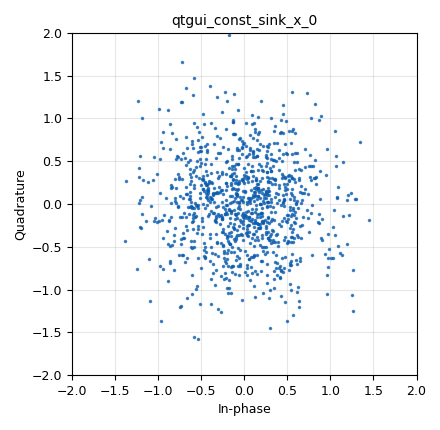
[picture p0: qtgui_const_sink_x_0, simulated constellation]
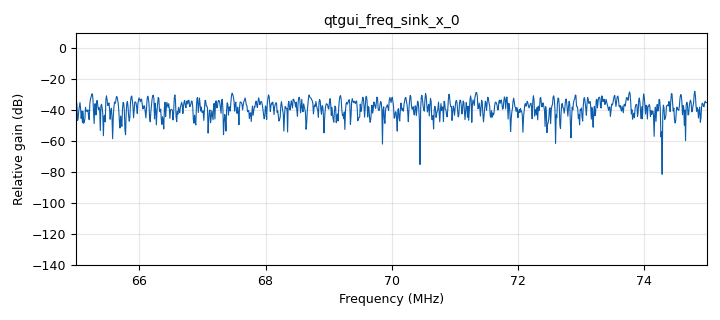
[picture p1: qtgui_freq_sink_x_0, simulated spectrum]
<?xml version='1.0' encoding='utf-8'?>
<?grc format='1' created='3.7.9'?>
<flow_graph>
<block>
<key>options</key>
<param><key>id</key><value>dbpsk_downlink</value></param>
<param><key>author</key><value>André Løfaldli</value></param>
<param><key>category</key><value>Custom</value></param>
<param><key>generate_options</key><value>qt_gui</value></param>
<param><key>title</key><value>DBPSK Downlink</value></param>
</block>
<block>
<key>variable_qtgui_chooser</key>
<param><key>id</key><value>antenna</value></param>
<param><key>value</key><value>RX2</value></param>
<param><key>num_opts</key><value>2</value></param>
<param><key>option0</key><value>RX2</value></param>
<param><key>option1</key><value>TX/RX</value></param>
<param><key>type</key><value>string</value></param>
</block>
<block>
<key>variable_constellation</key>
<param><key>id</key><value>bpsk</value></param>
<param><key>const_points</key><value>[-1-1j, -1+1j, 1+1j, 1-1j]</value></param>
<param><key>dims</key><value>1</value></param>
<param><key>rot_sym</key><value>4</value></param>
<param><key>precision</key><value>8</value></param>
<param><key>sym_map</key><value>[0, 1, 3, 2]</value></param>
</block>
<block>
<key>variable</key>
<param><key>id</key><value>data_rate</value></param>
<param><key>value</key><value>int(2e6)</value></param>
</block>
<block>
<key>variable</key>
<param><key>id</key><value>fps</value></param>
<param><key>value</key><value>5</value></param>
</block>
<block>
<key>variable_function_probe</key>
<param><key>id</key><value>frames_decoded</value></param>
<param><key>block_id</key><value>ccsds_decoder</value></param>
<param><key>function_name</key><value>num_frames_decoded</value></param>
<param><key>poll_rate</key><value>fps</value></param>
<param><key>value</key><value>0</value></param>
</block>
<block>
<key>variable_function_probe</key>
<param><key>id</key><value>frames_received</value></param>
<param><key>block_id</key><value>ccsds_decoder</value></param>
<param><key>function_name</key><value>num_frames_received</value></param>
<param><key>poll_rate</key><value>fps</value></param>
<param><key>value</key><value>0</value></param>
</block>
<block>
<key>variable</key>
<param><key>id</key><value>freq</value></param>
<param><key>value</key><value>int(70e6)</value></param>
</block>
<block>
<key>variable</key>
<param><key>id</key><value>samp_rate</value></param>
<param><key>value</key><value>sps*data_rate</value></param>
</block>
<block>
<key>variable</key>
<param><key>id</key><value>sps</value></param>
<param><key>value</key><value>5</value></param>
</block>
<block>
<key>variable_function_probe</key>
<param><key>id</key><value>subframes_decoded</value></param>
<param><key>block_id</key><value>ccsds_decoder</value></param>
<param><key>function_name</key><value>num_subframes_decoded</value></param>
<param><key>poll_rate</key><value>fps</value></param>
<param><key>value</key><value>0</value></param>
</block>
<block>
<key>variable_qtgui_label</key>
<param><key>id</key><value>variable_qtgui_label_0_1</value></param>
<param><key>value</key><value>frames_received</value></param>
<param><key>gui_hint</key><value>qtgui@1:0,0</value></param>
<param><key>label</key><value>frames received</value></param>
<param><key>type</key><value>raw</value></param>
</block>
<block>
<key>variable_qtgui_label</key>
<param><key>id</key><value>variable_qtgui_label_0_1_0</value></param>
<param><key>value</key><value>frames_decoded</value></param>
<param><key>gui_hint</key><value>qtgui@1:0,1</value></param>
<param><key>label</key><value>frames decoded</value></param>
<param><key>type</key><value>raw</value></param>
</block>
<block>
<key>variable_qtgui_label</key>
<param><key>id</key><value>variable_qtgui_label_0_1_0_0</value></param>
<param><key>value</key><value>subframes_decoded</value></param>
<param><key>gui_hint</key><value>qtgui@1:0,2</value></param>
<param><key>label</key><value>subframes decoded</value></param>
<param><key>type</key><value>raw</value></param>
</block>
<block>
<key>analog_agc2_xx</key>
<param><key>id</key><value>analog_agc2_xx_0</value></param>
<param><key>attack_rate</key><value>6e-2</value></param>
<param><key>decay_rate</key><value>1e-3</value></param>
<param><key>gain</key><value>1</value></param>
<param><key>max_gain</key><value>65536</value></param>
<param><key>reference</key><value>1</value></param>
<param><key>type</key><value>complex</value></param>
</block>
<block>
<key>analog_noise_source_x</key>
<param><key>id</key><value>analog_noise_source_x_0</value></param>
<param><key>amp</key><value>1</value></param>
<param><key>noise_type</key><value>analog.GR_GAUSSIAN</value></param>
<param><key>type</key><value>complex</value></param>
<param><key>seed</key><value>0</value></param>
</block>
<block>
<key>blocks_moving_average_xx</key>
<param><key>id</key><value>blocks_moving_average_xx_0</value></param>
<param><key>length</key><value>1000</value></param>
<param><key>max_iter</key><value>4000</value></param>
<param><key>scale</key><value>1e-3</value></param>
<param><key>type</key><value>float</value></param>
</block>
<block>
<key>ccsds_ccsds_decoder</key>
<param><key>id</key><value>ccsds_decoder</value></param>
<param><key>deinterleave</key><value>True</value></param>
<param><key>descramble</key><value>True</value></param>
<param><key>printing</key><value>False</value></param>
<param><key>rs_decode</key><value>True</value></param>
<param><key>threshold</key><value>0</value></param>
<param><key>verbose</key><value>False</value></param>
</block>
<block>
<key>digital_clock_recovery_mm_xx</key>
<param><key>id</key><value>digital_clock_recovery_mm_xx_0</value></param>
<param><key>gain_mu</key><value>0.175</value></param>
<param><key>gain_omega</key><value>0.25*0.175*0.175</value></param>
<param><key>mu</key><value>0.5</value></param>
<param><key>omega_relative_limit</key><value>0.005</value></param>
<param><key>omega</key><value>sps</value></param>
<param><key>type</key><value>complex</value></param>
</block>
<block>
<key>digital_constellation_decoder_cb</key>
<param><key>id</key><value>digital_constellation_decoder_cb_0</value></param>
<param><key>constellation</key><value>bpsk</value></param>
</block>
<block>
<key>digital_costas_loop_cc</key>
<param><key>id</key><value>digital_costas_loop_cc_0</value></param>
<param><key>w</key><value>6.28/100</value></param>
<param><key>order</key><value>2</value></param>
</block>
<block>
<key>digital_diff_decoder_bb</key>
<param><key>id</key><value>digital_diff_decoder_bb_0</value></param>
<param><key>modulus</key><value>2</value></param>
</block>
<block>
<key>qtgui_tab_widget</key>
<param><key>id</key><value>qtgui</value></param>
<param><key>gui_hint</key><value>0,0,1,2</value></param>
<param><key>label0</key><value>fft/const</value></param>
<param><key>label1</key><value>stats</value></param>
<param><key>num_tabs</key><value>2</value></param>
</block>
<block>
<key>qtgui_const_sink_x</key>
<param><key>id</key><value>qtgui_const_sink_x_0</value></param>
<param><key>gui_hint</key><value>qtgui@0:0,1</value></param>
<param><key>legend</key><value>False</value></param>
<param><key>size</key><value>1024</value></param>
<param><key>type</key><value>complex</value></param>
<param><key>update_time</key><value>1.0/fps</value></param>
</block>
<block>
<key>qtgui_freq_sink_x</key>
<param><key>id</key><value>qtgui_freq_sink_x_0</value></param>
<param><key>bw</key><value>samp_rate</value></param>
<param><key>fc</key><value>freq</value></param>
<param><key>fftsize</key><value>1024</value></param>
<param><key>gui_hint</key><value>qtgui@0:0,0</value></param>
<param><key>legend</key><value>False</value></param>
<param><key>showports</key><value>True</value></param>
<param><key>type</key><value>complex</value></param>
<param><key>update_time</key><value>1.0/fps</value></param>
<param><key>wintype</key><value>firdes.WIN_BLACKMAN_hARRIS</value></param>
</block>
<block>
<key>qtgui_number_sink</key>
<param><key>id</key><value>qtgui_number_sink_1</value></param>
<param><key>gui_hint</key><value>qtgui@1</value></param>
<param><key>graph_type</key><value>qtgui.NUM_GRAPH_HORIZ</value></param>
<param><key>type</key><value>float</value></param>
<param><key>factor1</key><value>1.0*samp_rate/sps * 1.0/6.28</value></param>
<param><key>label1</key><value>doppler</value></param>
<param><key>unit1</key><value>Hz</value></param>
<param><key>max</key><value>0.5*samp_rate/sps</value></param>
<param><key>min</key><value>-0.5*samp_rate/sps</value></param>
<param><key>update_time</key><value>1.0/fps</value></param>
</block>
<block>
<key>uhd_usrp_source</key>
<param><key>id</key><value>uhd_usrp_source_0</value></param>
<param><key>ant0</key><value>antenna</value></param>
<param><key>center_freq0</key><value>freq</value></param>
<param><key>dc_offs_enb0</key><value>""</value></param>
<param><key>iq_imbal_enb0</key><value>""</value></param>
<param><key>norm_gain0</key><value>False</value></param>
<param><key>gain0</key><value>0</value></param>
<param><key>clock_rate</key><value>0.0</value></param>
<param><key>dev_args</key><value>""</value></param>
<param><key>_enabled</key><value>0</value></param>
<param><key>type</key><value>fc32</value></param>
<param><key>samp_rate</key><value>samp_rate</value></param>
<param><key>hide_cmd_port</key><value>False</value></param>
<param><key>sync</key><value></value></param>
</block>
<connection><source_block_id>analog_agc2_xx_0</source_block_id><sink_block_id>digital_clock_recovery_mm_xx_0</sink_block_id><source_key>0</source_key><sink_key>0</sink_key></connection>
<connection><source_block_id>analog_noise_source_x_0</source_block_id><sink_block_id>analog_agc2_xx_0</sink_block_id><source_key>0</source_key><sink_key>0</sink_key></connection>
<connection><source_block_id>analog_noise_source_x_0</source_block_id><sink_block_id>qtgui_freq_sink_x_0</sink_block_id><source_key>0</source_key><sink_key>0</sink_key></connection>
<connection><source_block_id>blocks_moving_average_xx_0</source_block_id><sink_block_id>qtgui_number_sink_1</sink_block_id><source_key>0</source_key><sink_key>0</sink_key></connection>
<connection><source_block_id>digital_clock_recovery_mm_xx_0</source_block_id><sink_block_id>digital_costas_loop_cc_0</sink_block_id><source_key>0</source_key><sink_key>0</sink_key></connection>
<connection><source_block_id>digital_constellation_decoder_cb_0</source_block_id><sink_block_id>digital_diff_decoder_bb_0</sink_block_id><source_key>0</source_key><sink_key>0</sink_key></connection>
<connection><source_block_id>digital_costas_loop_cc_0</source_block_id><sink_block_id>blocks_moving_average_xx_0</sink_block_id><source_key>1</source_key><sink_key>0</sink_key></connection>
<connection><source_block_id>digital_costas_loop_cc_0</source_block_id><sink_block_id>digital_constellation_decoder_cb_0</sink_block_id><source_key>0</source_key><sink_key>0</sink_key></connection>
<connection><source_block_id>digital_costas_loop_cc_0</source_block_id><sink_block_id>qtgui_const_sink_x_0</sink_block_id><source_key>0</source_key><sink_key>0</sink_key></connection>
<connection><source_block_id>digital_diff_decoder_bb_0</source_block_id><sink_block_id>ccsds_decoder</sink_block_id><source_key>0</source_key><sink_key>0</sink_key></connection>
<connection><source_block_id>uhd_usrp_source_0</source_block_id><sink_block_id>analog_agc2_xx_0</sink_block_id><source_key>0</source_key><sink_key>0</sink_key></connection>
<connection><source_block_id>uhd_usrp_source_0</source_block_id><sink_block_id>qtgui_freq_sink_x_0</sink_block_id><source_key>0</source_key><sink_key>0</sink_key></connection>
</flow_graph>
